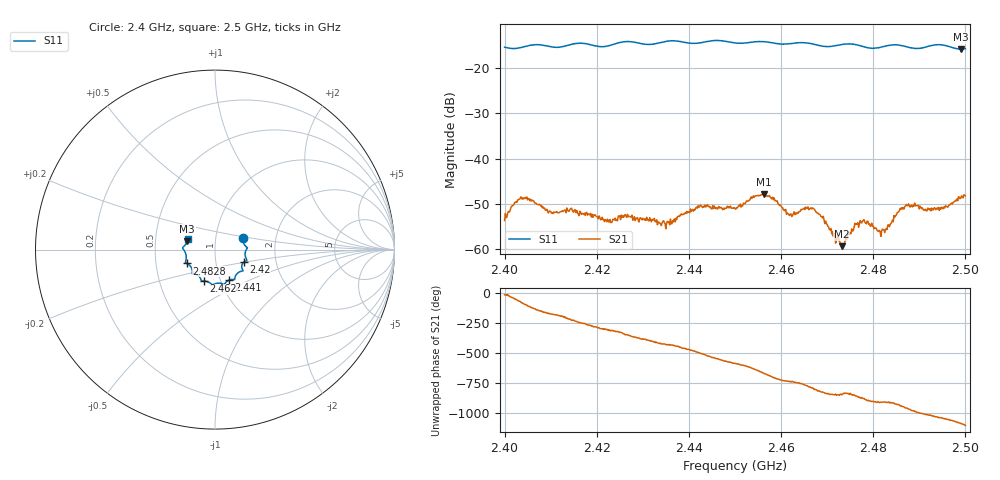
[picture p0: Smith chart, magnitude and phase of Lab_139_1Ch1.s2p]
# Hz S RI R 50
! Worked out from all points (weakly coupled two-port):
!   601 points, 2.4 GHz to 2.5 GHz, reference 50 ohm
!   highest |S21| = -47.82 dB at 2.4563 GHz (marker M1); lowest = -59.3 dB at 2.4732 GHz (marker M2)
!   lowest |S11| = -15.8 dB at 2.499 GHz (marker M3), VSWR 1.39, Z = 36.5 + j3.49 ohm
!   |S11| at or under -10 dB: start of sweep to end of sweep
!   S12 and S22 are empty: the file has one direction only
!   S11 on the Smith chart (normalised r, x): 2.4 GHz: 1.36, +0.18; 2.42 GHz: 1.36, -0.20; 2.441 GHz: 1.10, -0.39; 2.462 GHz: 0.84, -0.30; 2.4828 GHz: 0.72, -0.11; 2.5 GHz: 0.73, +0.09
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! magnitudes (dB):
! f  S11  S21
! 2.4 GHz  -15.4  -53.7
! 2.402 GHz  -15.7  -50.2
! 2.404 GHz  -15.4  -48.7
! 2.41 GHz  -15.3  -51.7
! 2.4167 GHz  -14.5  -52.3
! 2.42 GHz  -15.2  -52.8
! 2.4333 GHz  -14.5  -54.0
! 2.4353 GHz  -14.1  -53.8
! 2.441 GHz  -14.6  -51.6
! 2.45 GHz  -14.5  -51.0
! 2.4563 GHz  -14.2  -47.8
! 2.462 GHz  -14.6  -52.2
! 2.4667 GHz  -14.6  -51.1
! 2.4732 GHz  -14.8  -59.3
! 2.4777 GHz  -15.2  -53.8
! 2.4813 GHz  -15.5  -55.8
! 2.4828 GHz  -15.1  -55.4
! 2.4833 GHz  -15.0  -54.6
! 2.4873 GHz  -15.3  -50.3
! 2.4942 GHz  -14.8  -50.8
! 2.499 GHz  -15.8  -48.7
! 2.5 GHz  -15.7  -48.2
